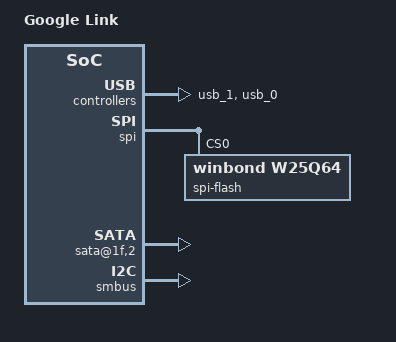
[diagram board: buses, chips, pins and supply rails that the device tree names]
/dts-v1/;

#include <dt-bindings/gpio/x86-gpio.h>
#include <dt-bindings/sound/azalia.h>
#include <pci_ids.h>

/include/ "skeleton.dtsi"
/include/ "keyboard.dtsi"
/include/ "serial.dtsi"
/include/ "reset.dtsi"
/include/ "rtc.dtsi"
/include/ "tsc_timer.dtsi"

/ {
	model = "Google Link";
	compatible = "google,link", "intel,celeron-ivybridge";

	aliases {
		spi0 = &spi;
		usb0 = &usb_0;
		usb1 = &usb_1;
	};

	config {
	       silent_console = <0>;
	};

	cpus {
		#address-cells = <1>;
		#size-cells = <0>;

		cpu@0 {
			device_type = "cpu";
			compatible = "intel,core-gen3";
			reg = <0>;
			intel,apic-id = <0>;
		};

		cpu@1 {
			device_type = "cpu";
			compatible = "intel,core-gen3";
			reg = <1>;
			intel,apic-id = <1>;
		};

		cpu@2 {
			device_type = "cpu";
			compatible = "intel,core-gen3";
			reg = <2>;
			intel,apic-id = <2>;
		};

		cpu@3 {
			device_type = "cpu";
			compatible = "intel,core-gen3";
			reg = <3>;
			intel,apic-id = <3>;
		};

	};

	chosen {
		stdout-path = "/serial";
	};

	keyboard {
		intel,duplicate-por;
	};

	pch_pinctrl {
		compatible = "intel,x86-pinctrl";
		u-boot,dm-pre-reloc;
		reg = <0 0>;

		gpio_a0 {
			gpio-offset = <0 0>;
			mode-gpio;
			direction = <PIN_INPUT>;
		};

		gpio_a1 {
			gpio-offset = <0>;
			mode-gpio;
			direction = <PIN_OUTPUT>;
			output-value = <1>;
		};

		gpio_a3 {
			gpio-offset = <0 3>;
			mode-gpio;
			direction = <PIN_INPUT>;
		};

		gpio_a5 {
			gpio-offset = <0 5>;
			mode-gpio;
			direction = <PIN_INPUT>;
		};

		gpio_a6 {
			gpio-offset = <0 6>;
			mode-gpio;
			direction = <PIN_OUTPUT>;
			output-value = <1>;
		};

		gpio_a7 {
			gpio-offset = <0 7>;
			mode-gpio;
			direction = <PIN_INPUT>;
			invert;
		};

		gpio_a8 {
			gpio-offset = <0 8>;
			mode-gpio;
			direction = <PIN_INPUT>;
			invert;
		};

		gpio_a9 {
			gpio-offset = <0 9>;
			mode-gpio;
			direction = <PIN_INPUT>;
		};

		gpio_a10 {
			u-boot,dm-pre-reloc;
			gpio-offset = <0 10>;
			mode-gpio;
			direction = <PIN_INPUT>;
		};

		gpio_a11 {
			gpio-offset = <0 11>;
			mode-gpio;
			direction = <PIN_INPUT>;
		};

		gpio_a12 {
			gpio-offset = <0 12>;
			mode-gpio;
			direction = <PIN_INPUT>;
			invert;
		};

		gpio_a14 {
			gpio-offset = <0 14>;
			mode-gpio;
			direction = <PIN_INPUT>;
			invert;
		};

		gpio_a15 {
			gpio-offset = <0 15>;
			mode-gpio;
			direction = <PIN_INPUT>;
			invert;
		};

		gpio_a21 {
			gpio-offset = <0 21>;
			mode-gpio;
			direction = <PIN_INPUT>;
		};

		gpio_a24 {
			gpio-offset = <0 24>;
			mode-gpio;
			output-value = <0>;
			direction = <PIN_OUTPUT>;
		};

		gpio_a28 {
			gpio-offset = <0 28>;
			mode-gpio;
			direction = <PIN_INPUT>;
		};

		gpio_b4 {
			gpio-offset = <0x30 4>;
			mode-gpio;
			direction = <PIN_OUTPUT>;
			output-value = <1>;
		};

		gpio_b9 {
			u-boot,dm-pre-reloc;
			gpio-offset = <0x30 9>;
			mode-gpio;
			direction = <PIN_INPUT>;
		};

		gpio_b10 {
			u-boot,dm-pre-reloc;
			gpio-offset = <0x30 10>;
			mode-gpio;
			direction = <PIN_INPUT>;
		};

		gpio_b11 {
			u-boot,dm-pre-reloc;
			gpio-offset = <0x30 11>;
			mode-gpio;
			direction = <PIN_INPUT>;
		};

		gpio_b25 {
			gpio-offset = <0x30 25>;
			mode-gpio;
			direction = <PIN_INPUT>;
		};

		gpio_b28 {
			gpio-offset = <0x30 28>;
			mode-gpio;
			direction = <PIN_OUTPUT>;
			output-value = <1>;
		};

	};

	pci {
		compatible = "pci-x86";
		#address-cells = <3>;
		#size-cells = <2>;
		u-boot,dm-pre-reloc;
		ranges = <0x02000000 0x0 0xe0000000 0xe0000000 0 0x10000000
			0x42000000 0x0 0xd0000000 0xd0000000 0 0x10000000
			0x01000000 0x0 0x1000 0x1000 0 0xefff>;

		northbridge@0,0 {
			reg = <0x00000000 0 0 0 0>;
			u-boot,dm-pre-reloc;
			compatible = "intel,bd82x6x-northbridge";
			board-id-gpios = <&gpio_b 9 0>, <&gpio_b 10 0>,
					<&gpio_b 11 0>, <&gpio_a 10 0>;
			spd {
				u-boot,dm-pre-reloc;
				#address-cells = <1>;
				#size-cells = <0>;
				elpida_4Gb_1600_x16 {
					u-boot,dm-pre-reloc;
					reg = <0>;
					data = [92 10 0b 03 04 19 02 02
						03 52 01 08 0a 00 fe 00
						69 78 69 3c 69 11 18 81
						20 08 3c 3c 01 40 83 81
						00 00 00 00 00 00 00 00
						00 00 00 00 00 00 00 00
						00 00 00 00 00 00 00 00
						00 00 00 00 0f 11 42 00
						00 00 00 00 00 00 00 00
						00 00 00 00 00 00 00 00
						00 00 00 00 00 00 00 00
						00 00 00 00 00 00 00 00
						00 00 00 00 00 00 00 00
						00 00 00 00 00 00 00 00
						00 00 00 00 00 02 fe 00
						11 52 00 00 00 07 7f 37
						45 42 4a 32 30 55 47 36
						45 42 55 30 2d 47 4e 2d
						46 20 30 20 02 fe 00 00
						00 00 00 00 00 00 00 00
						00 00 00 00 00 00 00 00
						00 00 00 00 00 00 00 00
						00 00 00 00 00 00 00 00
						00 00 00 00 00 00 00 00
						00 00 00 00 00 00 00 00
						00 00 00 00 00 00 00 00
						00 00 00 00 00 00 00 00
						00 00 00 00 00 00 00 00
						00 00 00 00 00 00 00 00
						00 00 00 00 00 00 00 00
						00 00 00 00 00 00 00 00
						00 00 00 00 00 00 00 00];
				};
				samsung_4Gb_1600_1.35v_x16 {
					u-boot,dm-pre-reloc;
					reg = <1>;
					data = [92 11 0b 03 04 19 02 02
						03 11 01 08 0a 00 fe 00
						69 78 69 3c 69 11 18 81
						f0 0a 3c 3c 01 40 83 01
						00 80 00 00 00 00 00 00
						00 00 00 00 00 00 00 00
						00 00 00 00 00 00 00 00
						00 00 00 00 0f 11 02 00
						00 00 00 00 00 00 00 00
						00 00 00 00 00 00 00 00
						00 00 00 00 00 00 00 00
						00 00 00 00 00 00 00 00
						00 00 00 00 00 00 00 00
						00 00 00 00 00 00 00 00
						00 00 00 00 00 80 ce 01
						00 00 00 00 00 00 6a 04
						4d 34 37 31 42 35 36 37
						34 42 48 30 2d 59 4b 30
						20 20 00 00 80 ce 00 00
						00 00 00 00 00 00 00 00
						00 00 00 00 00 00 00 00
						00 00 00 00 00 00 00 00
						00 00 00 00 00 00 00 00
						00 00 00 00 00 00 00 00
						00 00 00 00 00 00 00 00
						00 00 00 00 00 00 00 00
						00 00 00 00 00 00 00 00
						00 00 00 00 00 00 00 00
						00 00 00 00 00 00 00 00
						00 00 00 00 00 00 00 00
						00 00 00 00 00 00 00 00
						00 00 00 00 00 00 00 00];
					};
				micron_4Gb_1600_1.35v_x16 {
					reg = <2>;
					data = [92 11 0b 03 04 19 02 02
						03 11 01 08 0a 00 fe 00
						69 78 69 3c 69 11 18 81
						20 08 3c 3c 01 40 83 05
						00 00 00 00 00 00 00 00
						00 00 00 00 00 00 00 00
						00 00 00 00 00 00 00 00
						00 00 00 00 0f 01 02 00
						00 00 00 00 00 00 00 00
						00 00 00 00 00 00 00 00
						00 00 00 00 00 00 00 00
						00 00 00 00 00 00 00 00
						00 00 00 00 00 00 00 00
						00 00 00 00 00 00 00 00
						00 00 00 00 00 80 2c 00
						00 00 00 00 00 00 ad 75
						34 4b 54 46 32 35 36 36
						34 48 5a 2d 31 47 36 45
						31 20 45 31 80 2c 00 00
						00 00 00 00 00 00 00 00
						00 00 00 00 00 00 00 00
						00 00 00 00 00 00 00 00
						ff ff ff ff ff ff ff ff
						ff ff ff ff ff ff ff ff
						ff ff ff ff ff ff ff ff
						ff ff ff ff ff ff ff ff
						ff ff ff ff ff ff ff ff
						ff ff ff ff ff ff ff ff
						ff ff ff ff ff ff ff ff
						ff ff ff ff ff ff ff ff
						ff ff ff ff ff ff ff ff
						ff ff ff ff ff ff ff ff];
				};
			};
		};

		gma@2,0 {
			reg = <0x00001000 0 0 0 0>;
			compatible = "intel,gma";
			intel,dp_hotplug = <0 0 0x06>;
			intel,panel-port-select = <1>;
			intel,panel-power-cycle-delay = <6>;
			intel,panel-power-up-delay = <2000>;
			intel,panel-power-down-delay = <500>;
			intel,panel-power-backlight-on-delay = <2000>;
			intel,panel-power-backlight-off-delay = <2000>;
			intel,cpu-backlight = <0x00000200>;
			intel,pch-backlight = <0x04000000>;
		};

		me@16,0 {
			reg = <0x0000b000 0 0 0 0>;
			compatible = "intel,me";
			u-boot,dm-pre-reloc;
		};

		usb_1: usb@1a,0 {
			reg = <0x0000d000 0 0 0 0>;
			compatible = "ehci-pci";
		};

		hda@1b,0 {
			reg = <0x0000d800 0 0 0 0>;
			compatible = "intel,bd82x6x-hda";

			/* These correspond to the Intel HDA specification */
			beep-verbs = <
				0x00170500	/* power up codec */
				0x00270500	/* power up DAC */
				0x00b70500	/* power up speaker */
				0x00b70740	/* enable speaker out */
				0x00b78d00	/* enable EAPD pin */
				0x00b70c02	/* set EAPD pin */
				0x0143b013>;	/* beep volume */

			codecs {
				creative_codec: creative-ca0132 {
					vendor-id = <PCI_VENDOR_ID_CREATIVE>;
					device-id = <PCI_DEVICE_ID_CREATIVE_CA01322>;
				};
				intel_hdmi: hdmi {
					vendor-id = <PCI_VENDOR_ID_INTEL>;
					device-id = <PCI_DEVICE_ID_INTEL_COUGARPOINT_HDMI>;
				};
			};
		};

		usb_0: usb@1d,0 {
			reg = <0x0000e800 0 0 0 0>;
			compatible = "ehci-pci";
		};

		pch@1f,0 {
			reg = <0x0000f800 0 0 0 0>;
			compatible = "intel,bd82x6x", "intel,pch9";
			u-boot,dm-pre-reloc;
			#address-cells = <1>;
			#size-cells = <1>;
			intel,pirq-routing = <0x8b 0x8a 0x8b 0x8b
						0x80 0x80 0x80 0x80>;
			intel,gpi-routing = <0 0 0 0 0 0 0 2
						1 0 0 0 0 0 0 0>;
			/* Enable EC SMI source */
			intel,alt-gp-smi-enable = <0x0100>;

			spi: spi {
				#address-cells = <1>;
				#size-cells = <0>;
				compatible = "intel,ich9-spi";
				u-boot,dm-pre-reloc;
				spi-flash@0 {
					#size-cells = <1>;
					#address-cells = <1>;
					u-boot,dm-pre-reloc;
					reg = <0>;
					compatible = "winbond,w25q64",
							"jedec,spi-nor";
					memory-map = <0xff800000 0x00800000>;
					rw-mrc-cache {
						label = "rw-mrc-cache";
						reg = <0x003e0000 0x00010000>;
						u-boot,dm-pre-reloc;
					};
				};
			};

			gpio_a: gpioa {
				compatible = "intel,ich6-gpio";
				u-boot,dm-pre-reloc;
				#gpio-cells = <2>;
				gpio-controller;
				reg = <0 0x10>;
				bank-name = "A";
			};

			gpio_b: gpiob {
				compatible = "intel,ich6-gpio";
				u-boot,dm-pre-reloc;
				#gpio-cells = <2>;
				gpio-controller;
				reg = <0x30 0x10>;
				bank-name = "B";
			};

			gpio_c: gpioc {
				compatible = "intel,ich6-gpio";
				u-boot,dm-pre-reloc;
				#gpio-cells = <2>;
				gpio-controller;
				reg = <0x40 0x10>;
				bank-name = "C";
			};

			lpc {
				compatible = "intel,bd82x6x-lpc";
				#address-cells = <1>;
				#size-cells = <0>;
				u-boot,dm-pre-reloc;
				intel,gen-dec = <0x800 0xfc 0x900 0xfc>;
				cros-ec@200 {
					compatible = "google,cros-ec";
					reg = <0x204 1 0x200 1 0x880 0x80>;

					/*
					 * Describes the flash memory within
					 * the EC
					 */
					#address-cells = <1>;
					#size-cells = <1>;
					flash@8000000 {
						reg = <0x08000000 0x20000>;
						erase-value = <0xff>;
					};
				};
			};
		};

		sata@1f,2 {
			compatible = "intel,pantherpoint-ahci";
			reg = <0x0000fa00 0 0 0 0>;
			u-boot,dm-pre-reloc;
			intel,sata-mode = "ahci";
			intel,sata-port-map = <1>;
			intel,sata-port0-gen3-tx = <0x00880a7f>;
		};

		smbus: smbus@1f,3 {
			compatible = "intel,ich-i2c";
			reg = <0x0000fb00 0 0 0 0>;
			u-boot,dm-pre-reloc;
		};
	};

	tpm {
		reg = <0xfed40000 0x5000>;
		compatible = "infineon,slb9635lpc";
	};

	microcode {
		u-boot,dm-pre-reloc;
		update@0 {
			u-boot,dm-pre-reloc;
#include "microcode/m12306a9_0000001b.dtsi"
		};
	};

};

&creative_codec {
	verbs =  <
		/**
		 * Malcolm Setup. These correspond to the Intel HDA
		 * specification.
		 */
		0x01570d09 0x01570c23 0x01570a01 0x01570df0
		0x01570efe 0x01570775 0x015707d3 0x01570709
		0x01570753 0x015707d4 0x015707ef 0x01570775
		0x015707d3 0x01570709 0x01570702 0x01570737
		0x01570778 0x01553cce 0x015575c9 0x01553dce
		0x0155b7c9 0x01570de8 0x01570efe 0x01570702
		0x01570768 0x01570762 0x01553ace 0x015546c9
		0x01553bce 0x0155e8c9 0x01570d49 0x01570c88
		0x01570d20 0x01570e19 0x01570700 0x01571a05
		0x01571b29 0x01571a04 0x01571b29 0x01570a01

		/* Pin Widget Verb Table */

		/* NID 0x01, HDA Codec Subsystem ID Verb Table: 0x144dc0c2 */
		AZALIA_SUBVENDOR(0x0, 0x144dc0c2)

		/*
		 * Pin Complex (NID 0x0B)  Port-G Analog Unknown
		 * Speaker at Int N/A
		 */
		AZALIA_PIN_CFG(0x0, 0x0b, 0x901700f0)

		/* Pin Complex (NID 0x0C)  N/C */
		AZALIA_PIN_CFG(0x0, 0x0c, 0x70f000f0)

		/* Pin Complex (NID 0x0D)  N/C */
		AZALIA_PIN_CFG(0x0, 0x0d, 0x70f000f0)

		/* Pin Complex (NID 0x0E)  N/C */
		AZALIA_PIN_CFG(0x0, 0x0e, 0x70f000f0)

		/* Pin Complex (NID 0x0F)  N/C */
		AZALIA_PIN_CFG(0x0, 0x0f, 0x70f000f0)

		/* Pin Complex (NID 0x10) Port-D 1/8 Black HP Out at Ext Left */
		AZALIA_PIN_CFG(0x0, 0x10, 0x032110f0)

		/* Pin Complex (NID 0x11) Port-B Click Mic */
		AZALIA_PIN_CFG(0x0, 0x11, 0x90a700f0)

		/* Pin Complex (NID 0x12) Port-C Combo Jack Mic or D-Mic */
		AZALIA_PIN_CFG(0x0, 0x12, 0x03a110f0)

		/* Pin Complex (NID 0x13) What you hear */
		AZALIA_PIN_CFG(0x0, 0x13, 0x90d600f0)>;
};

&intel_hdmi {
	verbs = <
		/* NID 0x01, HDA Codec Subsystem ID Verb Table: 0x80860101 */
		AZALIA_SUBVENDOR(0x3, 0x80860101)

		/* Pin Complex (NID 0x05) Digital Out at Int HDMI */
		AZALIA_PIN_CFG(0x3, 0x05, 0x18560010)

		/* Pin Complex (NID 0x06) Digital Out at Int HDMI */
		AZALIA_PIN_CFG(0x3, 0x06, 0x18560020)

		/* Pin Complex (NID 0x07) Digital Out at Int HDMI */
		AZALIA_PIN_CFG(0x3, 0x07, 0x18560030)>;
};
